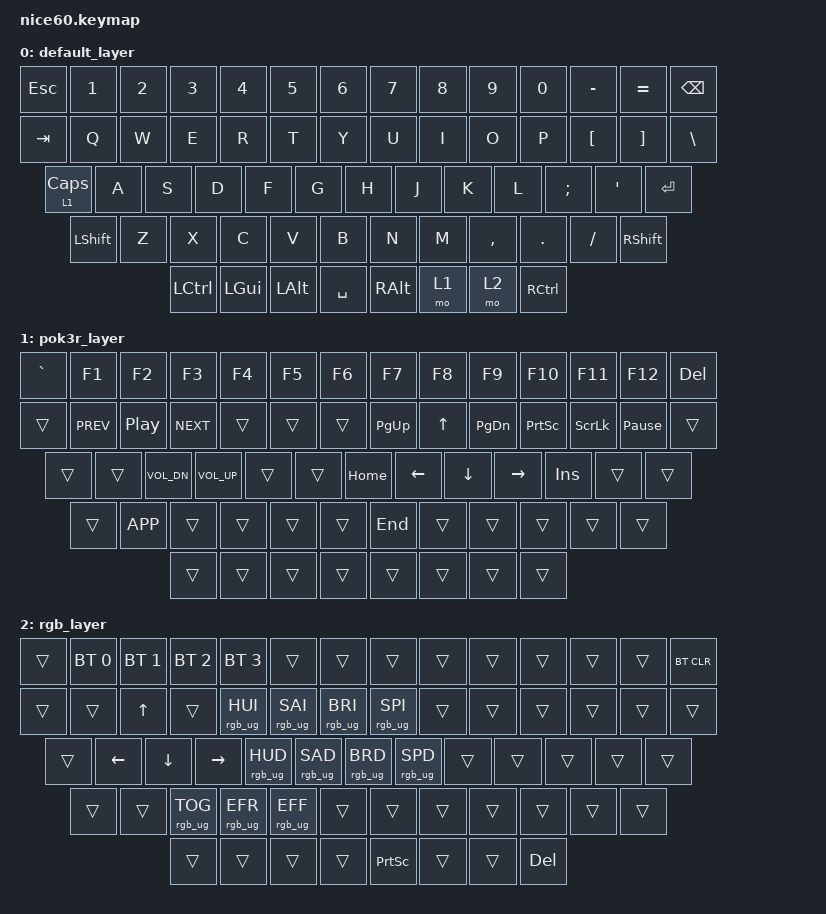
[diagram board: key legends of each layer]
/*
 * Copyright (c) 2021 Nick Winans
 *
 * SPDX-License-Identifier: MIT
 */

#include <behaviors.dtsi>
#include <dt-bindings/zmk/keys.h>
#include <dt-bindings/zmk/rgb.h>
#include <dt-bindings/zmk/bt.h>
#include <dt-bindings/zmk/outputs.h>
#include <dt-bindings/zmk/reset.h>
#include <dt-bindings/zmk/ext_power.h>

/ {
	keymap {
		compatible = "zmk,keymap";
		
		default_layer {
// ------------------------------------------------------------------------------------------
// | ESC |  1  |  2  |  3  |  4  |  5  |  6  |  7  |  8  |  9  |  0  |  -  |  =  |   BKSP   |
// | TAB  |  Q  |  W  |  E  |  R  |  T  |  Y  |  U  |  I  |  O  |  P  |  [  |  ]  |   "|"   |
// | CAPS  |  A  |  S  |  D  |  F  |  G  |  H  |  J  |  K  |  L  |  ;  |  '  |     ENTER    |
// |  SHIFT  |  Z  |  X  |  C  |  V  |  B  |  N  |  M  |  ,  |  .  |  /  |      SHIFT       |
// |  CTL  |  WIN  |  ALT  |            SPACE             |  ALT  |  MO(1) |  MO(2) |  CTL  |
// ------------------------------------------------------------------------------------------
			bindings = <
	&kp ESC &kp N1 &kp N2 &kp N3 &kp N4 &kp N5 &kp N6 &kp N7 &kp N8 &kp N9 &kp N0 &kp MINUS &kp EQUAL  &kp BSPC
	&kp TAB  &kp Q  &kp W  &kp E  &kp R  &kp T  &kp Y  &kp U  &kp I  &kp O  &kp P  &kp LBKT  &kp RBKT  &kp BSLH
	&lt 1 CLCK  &kp A  &kp S  &kp D  &kp F  &kp G  &kp H  &kp J  &kp K  &kp L  &kp SEMI &kp SQT         &kp RET
	&kp LSHFT     &kp Z  &kp X  &kp C  &kp V  &kp B  &kp N  &kp M  &kp COMMA &kp DOT &kp FSLH         &kp RSHFT
	&kp LCTRL &kp LGUI &kp LALT          &kp SPACE                         &kp RALT   &mo 1   &mo 2   &kp RCTRL
			>;
		};

		pok3r_layer {
			bindings = <
	&kp GRAVE   &kp F1      &kp F2            &kp F3        &kp F4  &kp F5  &kp F6    &kp F7    &kp F8   &kp F9   &kp F10    &kp F11  &kp F12           &kp DEL
	&trans       &kp C_PREV  &kp C_PLAY_PAUSE  &kp C_NEXT    &trans  &trans  &trans    &kp PG_UP &kp UP   &kp PG_DN &kp PSCRN  &kp SLCK &kp PAUSE_BREAK &trans
	&trans        &trans      &kp C_VOL_DN      &kp C_VOL_UP  &trans  &trans  &kp HOME  &kp LEFT  &kp DOWN &kp RIGHT &kp INS    &trans                  &trans
	&trans         &kp K_APP    &trans           &trans        &trans  &trans  &kp END   &trans    &trans   &trans    &trans                            &trans
	&trans     &trans     &trans                                &trans                                                &trans      &trans     &trans     &trans
			>;
		};

		rgb_layer {
			bindings = <
	&trans  &bt BT_SEL 0  &bt BT_SEL 1  &bt BT_SEL 2  &bt BT_SEL 3  &trans  &trans  &trans  &trans   &trans   &trans  &trans &trans        &bt BT_CLR
	&trans   &trans  &kp UP  &trans  &rgb_ug RGB_HUI  &rgb_ug RGB_SAI &rgb_ug RGB_BRI &rgb_ug RGB_SPI  &trans  &trans  &trans  &trans  &trans  &trans 
	&trans    &kp LEFT  &kp DOWN  &kp RIGHT &rgb_ug RGB_HUD &rgb_ug RGB_SAD &rgb_ug RGB_BRD &rgb_ug RGB_SPD &trans   &trans   &trans   &trans  &trans
	&trans     &trans  &rgb_ug RGB_TOG  &rgb_ug RGB_EFR  &rgb_ug RGB_EFF  &trans  &trans  &trans  &trans  &trans  &trans                       &trans
	&trans  &trans   &trans                                    &trans                                      &kp PSCRN      &trans      &trans    &kp DEL
			>;
		};
	};
};
